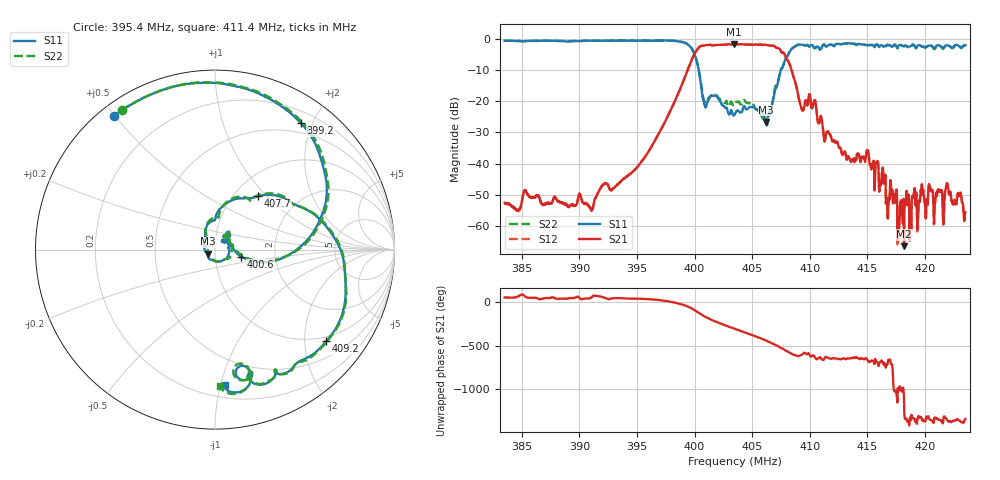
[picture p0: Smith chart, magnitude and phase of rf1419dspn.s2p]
!RF1419D #2 in 403-0264-001 fixture
# HZ S RI R 50
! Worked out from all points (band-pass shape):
!   1601 points, 383.5 MHz to 423.5 MHz, reference 50 ohm
!   highest |S21| = -1.69 dB at 403.4 MHz (marker M1); lowest = -66.5 dB at 418.2 MHz (marker M2)
!   |S21| within 3 dB of the highest: 400 MHz to 407.8 MHz (7.743 MHz wide, 1.92 % of centre)
!   lowest |S11| = -26.7 dB at 406.2 MHz (marker M3), VSWR 1.10, Z = 46.1 - j2.04 ohm
!   |S11| at or under -10 dB: 400.3 MHz to 407.5 MHz (7.144 MHz wide, 1.77 % of centre)
!   |S22| runs from -27.8 to -0.6 dB; largest |S21 - S12| = 0.0026
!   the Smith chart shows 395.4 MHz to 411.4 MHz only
!   S11 on the Smith chart (normalised r, x): 395.4 MHz: 0.04, +0.50; 399.2 MHz: 0.35, +1.83; 400.6 MHz: 1.34, -0.11; 407.7 MHz: 1.28, +0.90; 409.2 MHz: 0.88, -2.52; 411.4 MHz: 0.29, -1.03
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3.835e8  -0.912 0.1806  0.00148 0.00181  0.00147 0.00178  -0.9004 0.2295
3.90175e8  -0.8398 0.3822  0.00224 0.00143  0.00226 0.00138  -0.8181 0.4297
3.9105e8  -0.8221 0.4425  0.00108 0.00136  0.0011 0.00145  -0.7943 0.4877
3.954e8  -0.5621 0.7463  0.00892 0.00635  0.00882 0.00628  -0.5209 0.7754
3.9685e8  -0.3486 0.8679  0.0272 0.0112  0.0273 0.0112  -0.3039 0.8853
3.992e8  0.478 0.7059  0.19 -0.1714  0.1904 -0.1717  0.4983 0.6951
4.001e8  0.4866 0.0258  -0.1485 -0.6043  -0.1496 -0.6039  0.4968 0.0262
4.006e8  0.1475 -0.0403  -0.6501 -0.4133  -0.6513 -0.4125  0.1615 -0.0391
4.02075e8  0.0804 0.0717  -0.4091 0.6854  -0.408 0.6855  0.0766 0.082
4.03425e8  0.0385 0.0449  0.4846 0.6657  0.4856 0.665  0.0533 0.0662
4.035e8  0.0395 0.0487  0.5273 0.6292  0.5279 0.6285  0.0545 0.0708
4.04825e8  0.0793 -0.0151  0.786 -0.1776  0.7862 -0.1791  0.093 -0.0137
4.062e8  -0.0405 -0.0221  0.093 -0.7911  0.0919 -0.7913  -0.0434 -0.00655
4.077e8  0.2408 0.2977  -0.5991 0.0161  -0.599 0.0173  0.2327 0.3
4.09175e8  0.6194 -0.5109  -0.0244 0.0841  -0.0246 0.0835  0.6337 -0.4991
4.10175e8  0.2733 -0.7502  -0.015 0.0753  -0.0152 0.0754  0.2767 -0.7428
4.11375e8  0.0555 -0.7531  -2.9e-06 0.0277  -5.63e-05 0.0278  0.0302 -0.7617
4.15025e8  -0.3849 -0.6843  0.0109 0.0123  0.0109 0.0122  -0.4008 -0.6738
4.1685e8  -0.4849 -0.6278  0.00168 0.00223  0.00175 0.00218  -0.5039 -0.608
4.18175e8  -0.4974 -0.5737  0.000259 -0.000398  0.000141 -0.000474  -0.5191 -0.5538
4.2195e8  -0.5835 -0.523  0.001 0.00452  0.000976 0.00457  -0.5968 -0.5087
4.235e8  -0.6001 -0.5084  -0.000189 0.00164  -0.000295 0.00158  -0.6155 -0.4879
